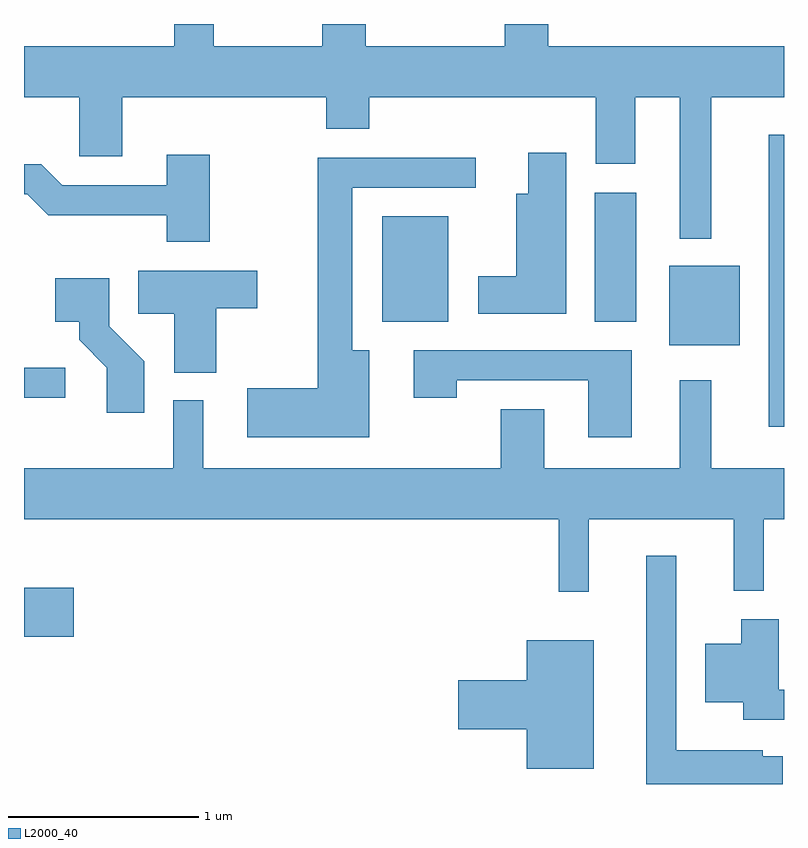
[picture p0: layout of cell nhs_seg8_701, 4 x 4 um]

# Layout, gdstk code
import gdstk
lib = gdstk.Library(unit=1e-6, precision=1e-09)
def R(c, l, rs):  # rectangles x0, y0, x1, y1
    for r in rs: c.add(gdstk.rectangle(r[:2], r[2:], *l))
def P(c, l, *ps):  # polygons
    for p in ps: c.add(gdstk.Polygon(p, *l))
L2000_40 = (2000, 40)

nhs_seg8_701 = lib.new_cell('nhs_seg8_701')
R(nhs_seg8_701, L2000_40, [(205.611,1849.116,205.874,1849.374), (209.531,1850.223,209.611,1851.759), (205.611,1850.376,205.828,1850.534), (209.006,1850.651,209.379,1851.069), (207.496,1850.776,207.844,1851.329), (208.616,1850.776,208.834,1851.454)])
P(nhs_seg8_701, L2000_40, [(209.229,1851.956),(209.611,1851.956),(209.611,1852.224),(208.369,1852.224),(208.369,1852.342),(208.141,1852.342),(208.141,1852.224),(207.409,1852.224),(207.409,1852.342),(207.181,1852.342),(207.181,1852.224),(206.609,1852.224),(206.609,1852.342),(206.401,1852.342),(206.401,1852.224),(205.611,1852.224),(205.611,1851.956),(205.901,1851.956),(205.901,1851.646),(206.129,1851.646),(206.129,1851.956),(207.201,1851.956),(207.201,1851.791),(207.429,1851.791),(207.429,1851.956),(208.621,1851.956),(208.621,1851.606),(208.829,1851.606),(208.829,1851.956),(209.061,1851.956),(209.061,1851.213),(209.229,1851.213)],
  [(208.464,1851.664),(208.266,1851.664),(208.266,1851.449),(208.201,1851.449),(208.201,1851.014),(208.001,1851.014),(208.001,1850.816),(208.464,1850.816)],
  [(206.589,1851.654),(206.361,1851.654),(206.361,1851.494),(205.812,1851.494),(205.702,1851.604),(205.611,1851.604),(205.611,1851.446),(205.629,1851.446),(205.739,1851.336),(206.361,1851.336),(206.361,1851.196),(206.589,1851.196)],
  [(207.429,1850.624),(207.339,1850.624),(207.339,1851.481),(207.988,1851.481),(207.988,1851.639),(207.156,1851.639),(207.156,1850.424),(206.786,1850.424),(206.786,1850.166),(207.429,1850.166)],
  [(206.624,1850.846),(206.839,1850.846),(206.839,1851.044),(206.211,1851.044),(206.211,1850.816),(206.401,1850.816),(206.401,1850.506),(206.624,1850.506)],
  [(206.244,1850.567),(206.059,1850.752),(206.059,1851.004),(205.776,1851.004),(205.776,1850.776),(205.901,1850.776),(205.901,1850.679),(206.046,1850.534),(206.046,1850.296),(206.244,1850.296)],
  [(208.809,1850.624),(207.661,1850.624),(207.661,1850.376),(207.889,1850.376),(207.889,1850.466),(208.581,1850.466),(208.581,1850.166),(208.809,1850.166)],
  [(208.584,1849.736),(209.346,1849.736),(209.346,1849.358),(209.504,1849.358),(209.504,1849.736),(209.611,1849.736),(209.611,1850.004),(209.229,1850.004),(209.229,1850.468),(209.061,1850.468),(209.061,1850.004),(208.349,1850.004),(208.349,1850.314),(208.121,1850.314),(208.121,1850.004),(206.554,1850.004),(206.554,1850.363),(206.396,1850.363),(206.396,1850.004),(205.611,1850.004),(205.611,1849.736),(208.426,1849.736),(208.426,1849.353),(208.584,1849.353)],
  [(209.604,1848.489),(209.499,1848.489),(209.499,1848.519),(209.044,1848.519),(209.044,1849.543),(208.886,1849.543),(208.886,1848.342),(209.604,1848.342)],
  [(209.611,1848.839),(209.584,1848.839),(209.584,1849.209),(209.386,1849.209),(209.386,1849.079),(209.196,1849.079),(209.196,1848.771),(209.396,1848.771),(209.396,1848.681),(209.611,1848.681)],
  [(208.609,1849.099),(208.256,1849.099),(208.256,1848.889),(207.896,1848.889),(207.896,1848.631),(208.256,1848.631),(208.256,1848.421),(208.609,1848.421)])

lib.write_gds('nhs_seg8_701.gds')
